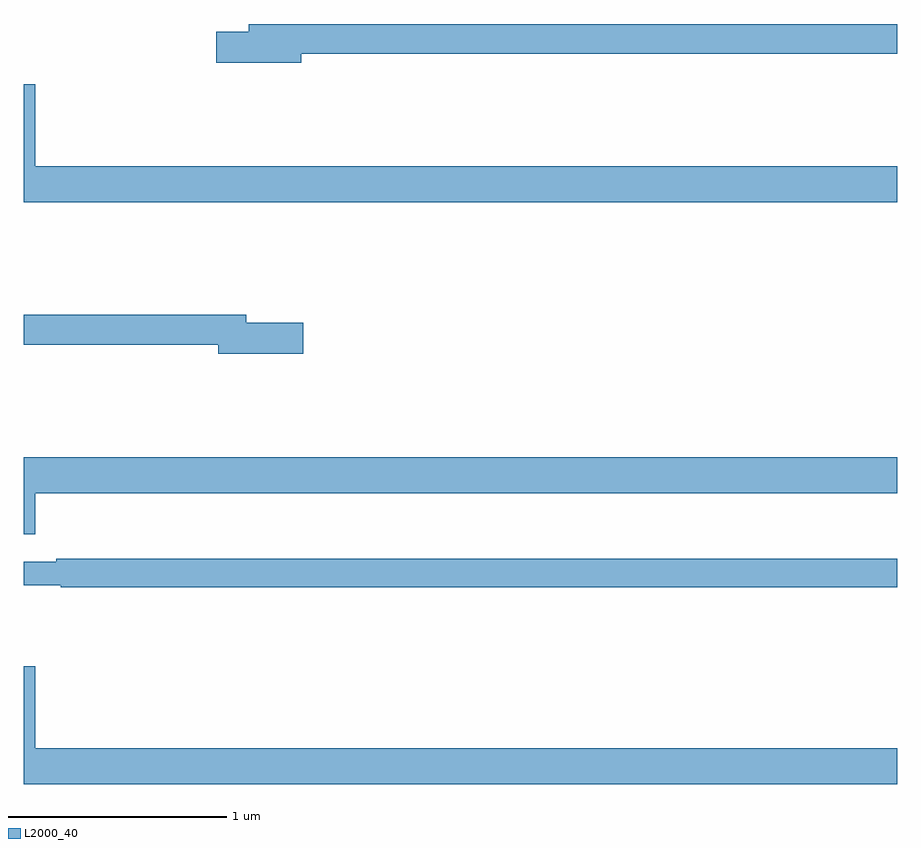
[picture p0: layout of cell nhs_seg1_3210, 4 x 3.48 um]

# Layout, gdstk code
import gdstk
lib = gdstk.Library(unit=1e-6, precision=1e-09)
def P(c, l, *ps):  # polygons
    for p in ps: c.add(gdstk.Polygon(p, *l))
L2000_40 = (2000, 40)

nhs_seg1_3210 = lib.new_cell('nhs_seg1_3210')
P(nhs_seg1_3210, L2000_40, [(286.27,533.764),(289,533.764),(289,533.9),(286.031,533.9),(286.031,533.864),(285.882,533.864),(285.882,533.722),(286.27,533.722)],
  [(289,533.248),(285.052,533.248),(285.052,533.623),(285,533.623),(285,533.084),(289,533.084)],
  [(286.279,532.532),(286.018,532.532),(286.018,532.568),(285,532.568),(285,532.432),(285.89,532.432),(285.89,532.39),(286.279,532.39)],
  [(285.052,531.752),(289,531.752),(289,531.916),(285,531.916),(285,531.564),(285.052,531.564)],
  [(289,531.451),(285.148,531.451),(285.148,531.438),(285,531.438),(285,531.33),(285.17,531.33),(285.17,531.322),(289,531.322)],
  [(289,530.584),(285.052,530.584),(285.052,530.959),(285,530.959),(285,530.42),(289,530.42)])

lib.write_gds('nhs_seg1_3210.gds')
